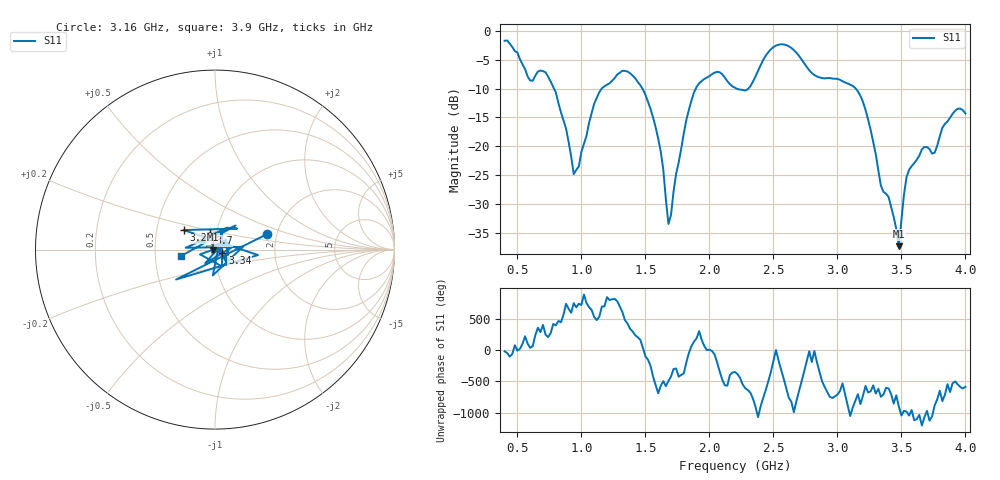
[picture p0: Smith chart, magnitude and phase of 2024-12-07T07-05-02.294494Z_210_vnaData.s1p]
!Created with skrf (http://scikit-rf.org).
# Hz S RI R 50.0
!freq ReS11 ImS11
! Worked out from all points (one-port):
!   181 points, 400 MHz to 4 GHz, reference 50 ohm
!   lowest |S11| = -37.3 dB at 3.48 GHz (marker M1), VSWR 1.03, Z = 48.7 + j0.0201 ohm
!   |S11| at or under -10 dB: 786 MHz to 1.159 GHz (372.9 MHz wide, 38.3 % of centre); 1.476 GHz to 1.894 GHz (417.7 MHz wide, 24.8 % of centre); 3.143 GHz to end of sweep (the widest 3 of 4)
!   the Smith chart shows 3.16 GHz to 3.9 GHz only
!   S11 on the Smith chart (normalised r, x): 3.16 GHz: 1.77, +0.33; 3.22 GHz: 0.69, +0.16; 3.34 GHz: 1.08, -0.04; 3.7 GHz: 0.93, +0.17; 3.9 GHz: 0.68, -0.05
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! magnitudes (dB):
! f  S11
! 400 MHz  -1.7
! 600 MHz  -8.6
! 720 MHz  -7.2
! 860 MHz  -15.5
! 940 MHz  -24.8
! 1.14 GHz  -10.6
! 1.3 GHz  -7.3
! 1.54 GHz  -13.5
! 1.62 GHz  -20.9
! 1.68 GHz  -33.5
! 1.76 GHz  -22.8
! 1.92 GHz  -9.1
! 2.06 GHz  -7.1
! 2.2 GHz  -9.9
! 2.3 GHz  -10.1
! 2.5 GHz  -2.8
! 2.66 GHz  -3.4
! 3.1 GHz  -9.3
! 3.16 GHz  -10.5
! 3.22 GHz  -13.7
! 3.34 GHz  -26.8
! 3.4 GHz  -28.8
! 3.48 GHz  -37.3
! 3.56 GHz  -24.1
! 3.7 GHz  -20.2
! 3.76 GHz  -21.1
! 3.9 GHz  -14.4
! 4 GHz  -14.3
